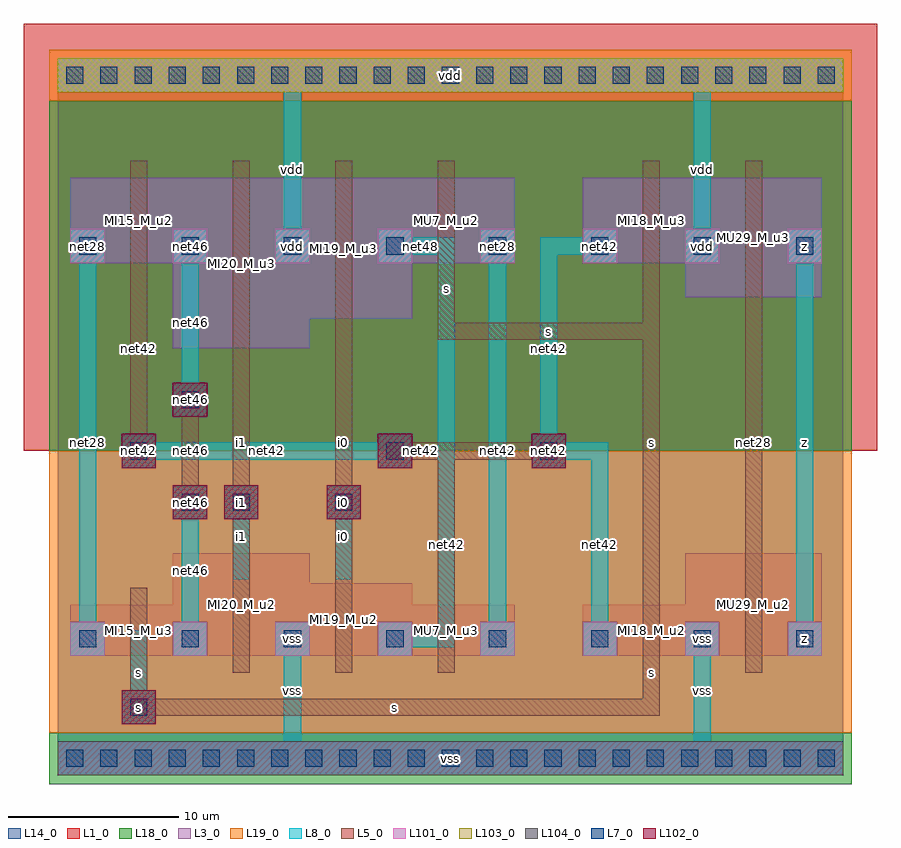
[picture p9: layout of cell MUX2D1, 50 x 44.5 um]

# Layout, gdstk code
import gdstk
lib = gdstk.Library(unit=1e-6, precision=1e-09)
def R(c, l, rs):  # rectangles x0, y0, x1, y1
    for r in rs: c.add(gdstk.rectangle(r[:2], r[2:], *l))
def A(c, l, x, y, w, h, nx, ny, dx, dy):  # array of equal rectangles
    R(c, l, [(x+i*dx, y+j*dy, x+i*dx+w, y+j*dy+h) for i in range(nx) for j in range(ny)])
L1_0 = (1, 0)
L3_0 = (3, 0)
L5_0 = (5, 0)
L7_0 = (7, 0)
L8_0 = (8, 0)
L13_0 = (13, 0)
L14_0 = (14, 0)
L18_0 = (18, 0)
L19_0 = (19, 0)
L101_0 = (101, 0)
L102_0 = (102, 0)
L103_0 = (103, 0)
L104_0 = (104, 0)

mux2d1 = lib.new_cell('MUX2D1')
R(mux2d1, L1_0, [(-2,18,48,43)])
A(mux2d1, L3_0, 0.75, 6, 2, 2, 8, 2, 6, 23)
R(mux2d1, L3_0, [(0,-1,46,1), (0,-1,46,1), (0.75,6,8.75,9), (6.75,6,14.75,12), (12.75,6,20.75,10.25), (18.75,6,26.75,9), (30.75,6,38.75,9), (36.75,6,44.75,12), (6.75,24,14.75,34), (12.75,25.75,20.75,34), (36.75,27,44.75,34), (0.75,29,8.75,34), (18.75,29,26.75,34), (30.75,29,38.75,34), (0,39,46,41), (0,39,46,41)])
R(mux2d1, L5_0, [(3.75,2,5.75,4), (4.25,2.5,5.25,7.5), (4.25,2.5,35.25,3.5), (34.25,2.5,35.25,7.5), (4.25,5,5.25,10), (10.25,5,11.25,13), (16.25,5,17.25,11.25), (22.25,5,23.25,10), (34.25,5,35.25,10), (40.25,5,41.25,13), (10.25,6.5,11.25,30.5), (16.25,6.5,17.25,30.5), (22.25,6.5,23.25,18.5), (34.25,6.5,35.25,30.5), (40.25,6.5,41.25,30.5), (6.75,14,8.75,16), (9.75,14,11.75,16), (15.75,14,17.75,16), (7.25,14.5,8.25,21.5), (3.75,17,5.75,19), (18.75,17,20.75,19), (27.75,17,29.75,19), (4.25,17.5,5.25,30.5), (19.25,17.5,23.25,18.5), (22.25,17.5,29.25,18.5), (6.75,20,8.75,22), (10.25,23,11.25,35), (22.25,24.5,23.25,30.5), (22.25,24.5,35.25,25.5), (16.25,24.75,17.25,35), (40.25,26,41.25,35), (4.25,28,5.25,35), (22.25,28,23.25,35), (34.25,28,35.25,35)])
A(mux2d1, L7_0, 0.5, -0.5, 1, 1, 23, 2, 2, 40)
A(mux2d1, L7_0, 1.25, 6.5, 1, 1, 8, 2, 6, 23)
R(mux2d1, L7_0, [(4.25,2.5,5.25,3.5), (7.25,14.5,8.25,15.5), (10.25,14.5,11.25,15.5), (16.25,14.5,17.25,15.5), (4.25,17.5,5.25,18.5), (19.25,17.5,20.25,18.5), (28.25,17.5,29.25,18.5), (7.25,20.5,8.25,21.5)])
A(mux2d1, L8_0, 0.75, 6, 2, 2, 8, 2, 6, 23)
R(mux2d1, L8_0, [(0,-1,46,1), (13.25,0.5,14.25,7.5), (37.25,0.5,38.25,7.5), (3.75,2,5.75,4), (4.25,2.5,5.25,7.5), (1.25,6.5,2.25,30.5), (7.25,6.5,8.25,15.5), (19.25,6.5,23.25,7.5), (22.25,6.5,23.25,30.5), (25.25,6.5,26.25,30.5), (31.25,6.5,32.25,18.5), (43.25,6.5,44.25,30.5), (10.25,10.5,11.25,15.5), (16.25,10.5,17.25,15.5), (6.75,14,8.75,16), (9.75,14,11.75,16), (15.75,14,17.75,16), (3.75,17,5.75,19), (18.75,17,20.75,19), (27.75,17,29.75,19), (4.25,17.5,20.25,18.5), (28.25,17.5,32.25,18.5), (28.25,17.5,29.25,30.5), (6.75,20,8.75,22), (7.25,20.5,8.25,30.5), (13.25,29.5,14.25,39.5), (19.25,29.5,23.25,30.5), (28.25,29.5,32.25,30.5), (37.25,29.5,38.25,39.5), (0,39,46,41)])
R(mux2d1, L14_0, [(0,0,46,40)])
R(mux2d1, L18_0, [(-0.5,-1.5,46.5,1.5), (-0.5,18,46.5,38.5)])
R(mux2d1, L19_0, [(-0.5,1.5,46.5,18), (-0.5,38.5,46.5,41.5)])
A(mux2d1, L101_0, 0, -1, 2, 2, 23, 2, 2, 40)
A(mux2d1, L101_0, 0.75, 6, 2, 2, 8, 2, 6, 23)
R(mux2d1, L102_0, [(3.75,2,5.75,4), (6.75,14,8.75,16), (9.75,14,11.75,16), (15.75,14,17.75,16), (3.75,17,5.75,19), (18.75,17,20.75,19), (27.75,17,29.75,19), (6.75,20,8.75,22)])
R(mux2d1, L103_0, [(0,39,46,41)])
R(mux2d1, L104_0, [(0,-1,46,1)])
mux2d1.add(gdstk.FlexPath([(0.75,3),(44.75,3)], 0, ends="flush", simple_path=True, layer=13, datatype=0))  # L13_0
mux2d1.add(gdstk.FlexPath([(0.75,7),(44.75,7)], 0, ends="flush", simple_path=True, layer=13, datatype=0))  # L13_0
mux2d1.add(gdstk.FlexPath([(0.75,11),(44.75,11)], 0, ends="flush", simple_path=True, layer=13, datatype=0))  # L13_0
mux2d1.add(gdstk.FlexPath([(0.75,15),(44.75,15)], 0, ends="flush", simple_path=True, layer=13, datatype=0))  # L13_0
mux2d1.add(gdstk.FlexPath([(0.75,18),(44.75,18)], 0, ends="flush", simple_path=True, layer=13, datatype=0))  # L13_0
mux2d1.add(gdstk.FlexPath([(0.75,21),(44.75,21)], 0, ends="flush", simple_path=True, layer=13, datatype=0))  # L13_0
mux2d1.add(gdstk.FlexPath([(0.75,25),(44.75,25)], 0, ends="flush", simple_path=True, layer=13, datatype=0))  # L13_0
mux2d1.add(gdstk.FlexPath([(0.75,30),(44.75,30)], 0, ends="flush", simple_path=True, layer=13, datatype=0))  # L13_0
mux2d1.add(gdstk.FlexPath([(0.75,33),(44.75,33)], 0, ends="flush", simple_path=True, layer=13, datatype=0))  # L13_0
mux2d1.add(gdstk.FlexPath([(0.75,37),(44.75,37)], 0, ends="flush", simple_path=True, layer=13, datatype=0))  # L13_0
mux2d1.add(gdstk.FlexPath([(1.75,0.5),(1.75,39.5)], 0, ends="flush", simple_path=True, layer=13, datatype=0))  # L13_0
mux2d1.add(gdstk.FlexPath([(4.75,0.5),(4.75,39.5)], 0, ends="flush", simple_path=True, layer=13, datatype=0))  # L13_0
mux2d1.add(gdstk.FlexPath([(7.75,0.5),(7.75,39.5)], 0, ends="flush", simple_path=True, layer=13, datatype=0))  # L13_0
mux2d1.add(gdstk.FlexPath([(10.75,0.5),(10.75,39.5)], 0, ends="flush", simple_path=True, layer=13, datatype=0))  # L13_0
mux2d1.add(gdstk.FlexPath([(13.75,0.5),(13.75,39.5)], 0, ends="flush", simple_path=True, layer=13, datatype=0))  # L13_0
mux2d1.add(gdstk.FlexPath([(16.75,0.5),(16.75,39.5)], 0, ends="flush", simple_path=True, layer=13, datatype=0))  # L13_0
mux2d1.add(gdstk.FlexPath([(19.75,0.5),(19.75,39.5)], 0, ends="flush", simple_path=True, layer=13, datatype=0))  # L13_0
mux2d1.add(gdstk.FlexPath([(22.75,0.5),(22.75,39.5)], 0, ends="flush", simple_path=True, layer=13, datatype=0))  # L13_0
mux2d1.add(gdstk.FlexPath([(25.75,0.5),(25.75,39.5)], 0, ends="flush", simple_path=True, layer=13, datatype=0))  # L13_0
mux2d1.add(gdstk.FlexPath([(28.75,0.5),(28.75,39.5)], 0, ends="flush", simple_path=True, layer=13, datatype=0))  # L13_0
mux2d1.add(gdstk.FlexPath([(31.75,0.5),(31.75,39.5)], 0, ends="flush", simple_path=True, layer=13, datatype=0))  # L13_0
mux2d1.add(gdstk.FlexPath([(34.75,0.5),(34.75,39.5)], 0, ends="flush", simple_path=True, layer=13, datatype=0))  # L13_0
mux2d1.add(gdstk.FlexPath([(37.75,0.5),(37.75,39.5)], 0, ends="flush", simple_path=True, layer=13, datatype=0))  # L13_0
mux2d1.add(gdstk.FlexPath([(40.75,0.5),(40.75,39.5)], 0, ends="flush", simple_path=True, layer=13, datatype=0))  # L13_0
mux2d1.add(gdstk.FlexPath([(43.75,0.5),(43.75,39.5)], 0, ends="flush", simple_path=True, layer=13, datatype=0))  # L13_0
mux2d1.add(gdstk.Label('MI15_M_u3', (4.75,7.5), layer=3, texttype=0))
mux2d1.add(gdstk.Label('MU7_M_u3', (22.75,7.5), layer=3, texttype=0))
mux2d1.add(gdstk.Label('MI20_M_u2', (10.75,9), layer=3, texttype=0))
mux2d1.add(gdstk.Label('MI19_M_u2', (16.75,8.125), layer=3, texttype=0))
mux2d1.add(gdstk.Label('MI18_M_u2', (34.75,7.5), layer=3, texttype=0))
mux2d1.add(gdstk.Label('MU29_M_u2', (40.75,9), layer=3, texttype=0))
mux2d1.add(gdstk.Label('MI15_M_u2', (4.75,31.5), layer=3, texttype=0))
mux2d1.add(gdstk.Label('MU7_M_u2', (22.75,31.5), layer=3, texttype=0))
mux2d1.add(gdstk.Label('MI20_M_u3', (10.75,29), layer=3, texttype=0))
mux2d1.add(gdstk.Label('MI19_M_u3', (16.75,29.875), layer=3, texttype=0))
mux2d1.add(gdstk.Label('MI18_M_u3', (34.75,31.5), layer=3, texttype=0))
mux2d1.add(gdstk.Label('MU29_M_u3', (40.75,30.5), layer=3, texttype=0))
mux2d1.add(gdstk.Label('net46', (7.75,7), layer=3, texttype=0))
mux2d1.add(gdstk.Label('net46', (7.75,30), layer=3, texttype=0))
mux2d1.add(gdstk.Label('net28', (1.75,7), layer=3, texttype=0))
mux2d1.add(gdstk.Label('net28', (25.75,7), layer=3, texttype=0))
mux2d1.add(gdstk.Label('net28', (1.75,30), layer=3, texttype=0))
mux2d1.add(gdstk.Label('net28', (25.75,30), layer=3, texttype=0))
mux2d1.add(gdstk.Label('net48', (19.75,7), layer=3, texttype=0))
mux2d1.add(gdstk.Label('net48', (19.75,30), layer=3, texttype=0))
mux2d1.add(gdstk.Label('net42', (31.75,7), layer=3, texttype=0))
mux2d1.add(gdstk.Label('net42', (31.75,30), layer=3, texttype=0))
mux2d1.add(gdstk.Label('z', (43.75,7), layer=3, texttype=0))
mux2d1.add(gdstk.Label('z', (43.75,30), layer=3, texttype=0))
mux2d1.add(gdstk.Label('vss', (13.75,7), layer=3, texttype=0))
mux2d1.add(gdstk.Label('vss', (37.75,7), layer=3, texttype=0))
mux2d1.add(gdstk.Label('vdd', (13.75,30), layer=3, texttype=0))
mux2d1.add(gdstk.Label('vdd', (37.75,30), layer=3, texttype=0))
mux2d1.add(gdstk.Label('net46', (7.75,15), layer=5, texttype=0))
mux2d1.add(gdstk.Label('net46', (7.75,18), layer=5, texttype=0))
mux2d1.add(gdstk.Label('net46', (7.75,21), layer=5, texttype=0))
mux2d1.add(gdstk.Label('s', (4.75,5), layer=5, texttype=0))
mux2d1.add(gdstk.Label('s', (19.75,3), layer=5, texttype=0))
mux2d1.add(gdstk.Label('s', (34.75,5), layer=5, texttype=0))
mux2d1.add(gdstk.Label('s', (34.75,18.5), layer=5, texttype=0))
mux2d1.add(gdstk.Label('s', (22.75,27.5), layer=5, texttype=0))
mux2d1.add(gdstk.Label('s', (28.75,25), layer=5, texttype=0))
mux2d1.add(gdstk.Label('s', (4.75,3), layer=5, texttype=0))
mux2d1.add(gdstk.Label('net28', (40.75,18.5), layer=5, texttype=0))
mux2d1.add(gdstk.Label('net42', (22.75,12.5), layer=5, texttype=0))
mux2d1.add(gdstk.Label('net42', (21.25,18), layer=5, texttype=0))
mux2d1.add(gdstk.Label('net42', (19.75,18), layer=5, texttype=0))
mux2d1.add(gdstk.Label('net42', (4.75,18), layer=5, texttype=0))
mux2d1.add(gdstk.Label('net42', (4.75,24), layer=5, texttype=0))
mux2d1.add(gdstk.Label('net42', (25.75,18), layer=5, texttype=0))
mux2d1.add(gdstk.Label('net42', (28.75,18), layer=5, texttype=0))
mux2d1.add(gdstk.Label('i1', (10.75,18.5), layer=5, texttype=0))
mux2d1.add(gdstk.Label('i1', (10.75,15), layer=5, texttype=0))
mux2d1.add(gdstk.Label('i0', (16.75,18.5), layer=5, texttype=0))
mux2d1.add(gdstk.Label('i0', (16.75,15), layer=5, texttype=0))
mux2d1.add(gdstk.Label('net46', (7.75,7), layer=101, texttype=0))
mux2d1.add(gdstk.Label('net46', (7.75,30), layer=101, texttype=0))
mux2d1.add(gdstk.Label('net28', (1.75,7), layer=101, texttype=0))
mux2d1.add(gdstk.Label('net28', (25.75,7), layer=101, texttype=0))
mux2d1.add(gdstk.Label('net28', (1.75,30), layer=101, texttype=0))
mux2d1.add(gdstk.Label('net28', (25.75,30), layer=101, texttype=0))
mux2d1.add(gdstk.Label('net48', (19.75,7), layer=101, texttype=0))
mux2d1.add(gdstk.Label('net48', (19.75,30), layer=101, texttype=0))
mux2d1.add(gdstk.Label('net42', (31.75,7), layer=101, texttype=0))
mux2d1.add(gdstk.Label('net42', (31.75,30), layer=101, texttype=0))
mux2d1.add(gdstk.Label('z', (43.75,7), layer=101, texttype=0))
mux2d1.add(gdstk.Label('z', (43.75,30), layer=101, texttype=0))
mux2d1.add(gdstk.Label('vss', (13.75,7), layer=101, texttype=0))
mux2d1.add(gdstk.Label('vss', (37.75,7), layer=101, texttype=0))
mux2d1.add(gdstk.Label('vdd', (13.75,30), layer=101, texttype=0))
mux2d1.add(gdstk.Label('vdd', (37.75,30), layer=101, texttype=0))
mux2d1.add(gdstk.Label('net46', (7.75,15), layer=102, texttype=0))
mux2d1.add(gdstk.Label('net46', (7.75,21), layer=102, texttype=0))
mux2d1.add(gdstk.Label('s', (4.75,3), layer=102, texttype=0))
mux2d1.add(gdstk.Label('net42', (19.75,18), layer=102, texttype=0))
mux2d1.add(gdstk.Label('net42', (4.75,18), layer=102, texttype=0))
mux2d1.add(gdstk.Label('net42', (28.75,18), layer=102, texttype=0))
mux2d1.add(gdstk.Label('i1', (10.75,15), layer=102, texttype=0))
mux2d1.add(gdstk.Label('i0', (16.75,15), layer=102, texttype=0))
mux2d1.add(gdstk.Label('net46', (7.75,7), layer=8, texttype=0))
mux2d1.add(gdstk.Label('net46', (7.75,30), layer=8, texttype=0))
mux2d1.add(gdstk.Label('net46', (7.75,11), layer=8, texttype=0))
mux2d1.add(gdstk.Label('net46', (7.75,15), layer=8, texttype=0))
mux2d1.add(gdstk.Label('net46', (7.75,21), layer=8, texttype=0))
mux2d1.add(gdstk.Label('net46', (7.75,25.5), layer=8, texttype=0))
mux2d1.add(gdstk.Label('s', (4.75,3), layer=8, texttype=0))
mux2d1.add(gdstk.Label('s', (4.75,5), layer=8, texttype=0))
mux2d1.add(gdstk.Label('net28', (1.75,7), layer=8, texttype=0))
mux2d1.add(gdstk.Label('net28', (25.75,7), layer=8, texttype=0))
mux2d1.add(gdstk.Label('net28', (1.75,30), layer=8, texttype=0))
mux2d1.add(gdstk.Label('net28', (25.75,30), layer=8, texttype=0))
mux2d1.add(gdstk.Label('net28', (1.75,18.5), layer=8, texttype=0))
mux2d1.add(gdstk.Label('net28', (25.75,18.5), layer=8, texttype=0))
mux2d1.add(gdstk.Label('net48', (19.75,7), layer=8, texttype=0))
mux2d1.add(gdstk.Label('net48', (19.75,30), layer=8, texttype=0))
mux2d1.add(gdstk.Label('net48', (21.25,7), layer=8, texttype=0))
mux2d1.add(gdstk.Label('net48', (22.75,18.5), layer=8, texttype=0))
mux2d1.add(gdstk.Label('net48', (21.25,30), layer=8, texttype=0))
mux2d1.add(gdstk.Label('net42', (31.75,7), layer=8, texttype=0))
mux2d1.add(gdstk.Label('net42', (31.75,30), layer=8, texttype=0))
mux2d1.add(gdstk.Label('net42', (19.75,18), layer=8, texttype=0))
mux2d1.add(gdstk.Label('net42', (12.25,18), layer=8, texttype=0))
mux2d1.add(gdstk.Label('net42', (4.75,18), layer=8, texttype=0))
mux2d1.add(gdstk.Label('net42', (28.75,18), layer=8, texttype=0))
mux2d1.add(gdstk.Label('net42', (28.75,24), layer=8, texttype=0))
mux2d1.add(gdstk.Label('net42', (30.25,30), layer=8, texttype=0))
mux2d1.add(gdstk.Label('net42', (31.75,12.5), layer=8, texttype=0))
mux2d1.add(gdstk.Label('net42', (30.25,18), layer=8, texttype=0))
mux2d1.add(gdstk.Label('i1', (10.75,15), layer=8, texttype=0))
mux2d1.add(gdstk.Label('i1', (10.75,13), layer=8, texttype=0))
mux2d1.add(gdstk.Label('i0', (16.75,15), layer=8, texttype=0))
mux2d1.add(gdstk.Label('i0', (16.75,13), layer=8, texttype=0))
mux2d1.add(gdstk.Label('z', (43.75,7), layer=8, texttype=0))
mux2d1.add(gdstk.Label('z', (43.75,30), layer=8, texttype=0))
mux2d1.add(gdstk.Label('z', (43.75,18.5), layer=8, texttype=0))
mux2d1.add(gdstk.Label('vss', (13.75,7), layer=8, texttype=0))
mux2d1.add(gdstk.Label('vss', (13.75,4), layer=8, texttype=0))
mux2d1.add(gdstk.Label('vss', (37.75,7), layer=8, texttype=0))
mux2d1.add(gdstk.Label('vss', (37.75,4), layer=8, texttype=0))
mux2d1.add(gdstk.Label('vdd', (13.75,30), layer=8, texttype=0))
mux2d1.add(gdstk.Label('vdd', (13.75,34.5), layer=8, texttype=0))
mux2d1.add(gdstk.Label('vdd', (37.75,30), layer=8, texttype=0))
mux2d1.add(gdstk.Label('vdd', (37.75,34.5), layer=8, texttype=0))
mux2d1.add(gdstk.Label('vss', (23,0), layer=8, texttype=0))
mux2d1.add(gdstk.Label('vdd', (23,40), layer=8, texttype=0))

lib.write_gds('MUX2D1.gds')
